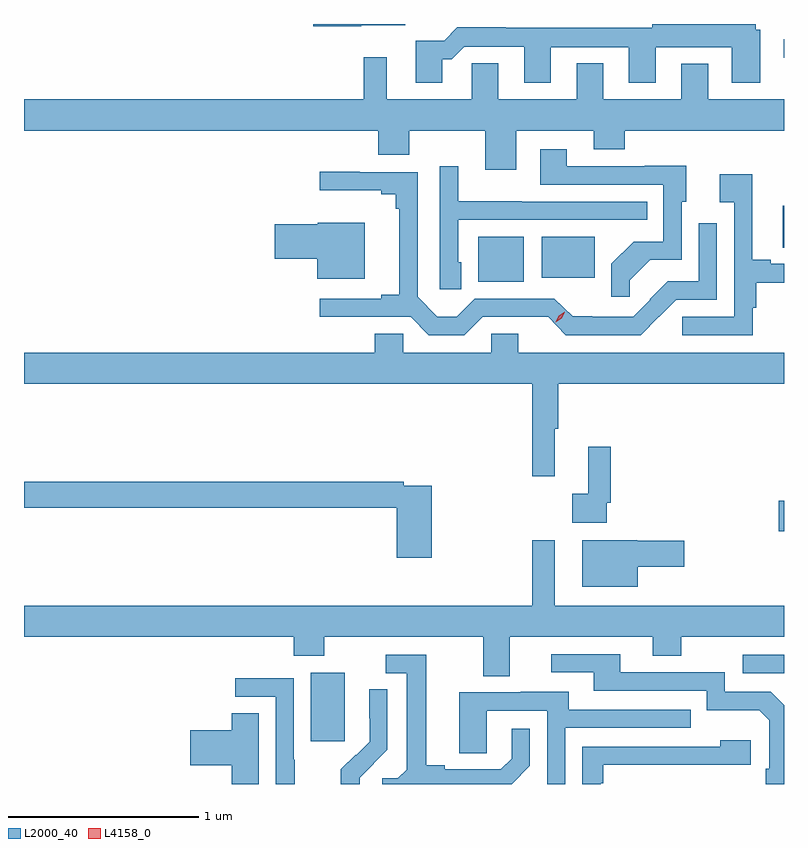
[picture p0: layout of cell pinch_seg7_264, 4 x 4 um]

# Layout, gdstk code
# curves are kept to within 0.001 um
import gdstk
lib = gdstk.Library(unit=1e-6, precision=1e-09)
def R(c, l, rs):  # rectangles x0, y0, x1, y1
    for r in rs: c.add(gdstk.rectangle(r[:2], r[2:], *l))
def P(c, l, *ps):  # polygons
    for p in ps: c.add(gdstk.Polygon(p, *l))
L2000_40 = (2000, 40)
L4158_0 = (4158, 0)

pinch_seg7_264 = lib.new_cell('pinch_seg7_264')
R(pinch_seg7_264, L2000_40, [(697.679,1058.673,697.858,1059.034), (699.951,1059.033,700.169,1059.129), (700.142,1059.779,700.169,1059.94), (698.561,1061.093,698.8,1061.329), (698.894,1061.114,699.172,1061.329), (700.163,1061.272,700.169,1061.493), (700.167,1062.271,700.169,1062.369)])
P(pinch_seg7_264, L2000_40, [(697.944,1062.443),(698.176,1062.443),(698.176,1062.449),(697.692,1062.449),(697.692,1062.436),(697.944,1062.436)],
  [(698.371,1062.263),(698.42,1062.263),(698.487,1062.33),(698.801,1062.33),(698.801,1062.141),(698.941,1062.141),(698.941,1062.327),(699.353,1062.327),(699.353,1062.141),(699.493,1062.141),(699.493,1062.326),(699.893,1062.326),(699.893,1062.141),(700.045,1062.141),(700.045,1062.42),(700.021,1062.42),(700.021,1062.449),(699.476,1062.449),(699.476,1062.428),(698.705,1062.428),(698.705,1062.431),(698.45,1062.431),(698.38,1062.361),(698.231,1062.361),(698.231,1062.141),(698.371,1062.141)],
  [(698.761,1061.888),(699.167,1061.888),(699.167,1061.789),(699.331,1061.789),(699.331,1061.888),(700.169,1061.888),(700.169,1062.052),(699.769,1062.052),(699.769,1062.241),(699.629,1062.241),(699.629,1062.052),(699.217,1062.052),(699.217,1062.242),(699.077,1062.242),(699.077,1062.052),(698.665,1062.052),(698.665,1062.242),(698.526,1062.242),(698.526,1062.052),(698.077,1062.052),(698.077,1062.274),(697.956,1062.274),(697.956,1062.052),(696.169,1062.052),(696.169,1061.888),(698.033,1061.888),(698.033,1061.76),(698.197,1061.76),(698.197,1061.888),(698.597,1061.888),(698.597,1061.682),(698.761,1061.682)],
  [(699.356,1061.1),(699.464,1061.208),(699.63,1061.208),(699.63,1061.514),(699.655,1061.514),(699.655,1061.702),(699.437,1061.702),(699.437,1061.7),(699.025,1061.7),(699.025,1061.791),(698.885,1061.791),(698.885,1061.604),(699.534,1061.604),(699.534,1061.304),(699.377,1061.304),(699.261,1061.188),(699.261,1061.013),(699.356,1061.013)],
  [(698.47,1061.196),(698.454,1061.196),(698.454,1061.418),(699.449,1061.418),(699.449,1061.514),(698.789,1061.514),(698.789,1061.515),(698.455,1061.515),(698.455,1061.701),(698.358,1061.701),(698.358,1061.053),(698.47,1061.053)],
  [(698.583,1060.908),(698.927,1060.907),(699.021,1060.812),(699.415,1060.812),(699.603,1060.998),(699.816,1060.998),(699.816,1061.401),(699.72,1061.401),(699.72,1061.094),(699.557,1061.094),(699.463,1061),(699.465,1060.998),(699.375,1060.908),(699.16,1060.908),(699.16,1060.91),(699.056,1060.91),(698.961,1061.004),(698.541,1061.004),(698.446,1060.909),(698.345,1060.909),(698.241,1061.013),(698.241,1061.67),(697.937,1061.67),(697.937,1061.672),(697.725,1061.672),(697.725,1061.573),(698.048,1061.573),(698.048,1061.554),(698.125,1061.554),(698.125,1061.477),(698.144,1061.477),(698.144,1061.024),(698.048,1061.024),(698.048,1061.004),(697.725,1061.004),(697.725,1060.907),(698.204,1060.908),(698.3,1060.812),(698.487,1060.812)],
  [(700.004,1060.955),(700.022,1060.955),(700.022,1061.086),(700.169,1061.086),(700.169,1061.187),(700.099,1061.187),(700.099,1061.207),(700.003,1061.207),(700.003,1061.659),(699.831,1061.659),(699.831,1061.51),(699.906,1061.51),(699.906,1060.908),(699.633,1060.908),(699.633,1060.812),(700.004,1060.812)],
  [(697.963,1061.404),(697.716,1061.404),(697.716,1061.396),(697.488,1061.396),(697.488,1061.213),(697.712,1061.213),(697.712,1061.108),(697.963,1061.108)],
  [(698.963,1060.32),(698.981,1060.32),(698.981,1060.556),(700.169,1060.556),(700.169,1060.72),(698.77,1060.72),(698.77,1060.818),(698.628,1060.818),(698.628,1060.72),(698.166,1060.72),(698.166,1060.818),(698.015,1060.818),(698.015,1060.72),(696.169,1060.72),(696.169,1060.556),(698.845,1060.556),(698.845,1060.068),(698.963,1060.068)],
  [(699.237,1059.928),(699.257,1059.928),(699.257,1060.225),(699.14,1060.225),(699.14,1059.977),(699.054,1059.977),(699.054,1059.824),(699.237,1059.824)],
  [(698.315,1060.02),(698.168,1060.02),(698.168,1060.04),(696.169,1060.04),(696.169,1059.904),(698.132,1059.904),(698.132,1059.639),(698.315,1059.639)],
  [(698.725,1059.224),(699.479,1059.224),(699.479,1059.125),(699.627,1059.125),(699.627,1059.224),(700.169,1059.224),(700.169,1059.388),(698.962,1059.388),(698.962,1059.733),(698.845,1059.733),(698.845,1059.388),(696.169,1059.388),(696.169,1059.224),(697.589,1059.224),(697.589,1059.125),(697.749,1059.125),(697.749,1059.224),(698.585,1059.224),(698.585,1059.016),(698.725,1059.016)],
  [(699.4,1059.593),(699.643,1059.593),(699.643,1059.728),(699.396,1059.728),(699.396,1059.733),(699.107,1059.733),(699.107,1059.488),(699.4,1059.488)],
  [(700.169,1058.863),(700.098,1058.934),(699.858,1058.934),(699.858,1059.036),(699.307,1059.036),(699.307,1059.132),(698.943,1059.132),(698.943,1059.036),(699.167,1059.036),(699.167,1058.94),(699.762,1058.94),(699.762,1058.837),(700.039,1058.837),(700.092,1058.784),(700.092,1058.53),(700.072,1058.53),(700.072,1058.449),(700.169,1058.449)],
  [(698.832,1058.546),(698.832,1058.74),(698.735,1058.74),(698.735,1058.583),(698.678,1058.526),(698.383,1058.526),(698.383,1058.549),(698.287,1058.549),(698.287,1059.129),(698.073,1059.129),(698.073,1059.033),(698.183,1059.033),(698.183,1058.525),(698.136,1058.478),(698.055,1058.478),(698.055,1058.449),(698.735,1058.449)],
  [(697.593,1058.576),(697.59,1058.576),(697.59,1059.006),(697.281,1059.006),(697.281,1058.907),(697.494,1058.907),(697.494,1058.449),(697.593,1058.449)],
  [(697.936,1058.482),(698.082,1058.63),(698.082,1058.948),(697.986,1058.948),(697.986,1058.794),(697.988,1058.794),(697.988,1058.672),(697.917,1058.601),(697.914,1058.604),(697.837,1058.527),(697.837,1058.449),(697.936,1058.449)],
  [(699.018,1058.745),(699.677,1058.745),(699.677,1058.841),(699.037,1058.841),(699.037,1058.935),(698.783,1058.935),(698.783,1058.931),(698.459,1058.931),(698.459,1058.611),(698.604,1058.611),(698.604,1058.835),(698.922,1058.835),(698.922,1058.449),(699.018,1058.449)],
  [(697.405,1058.822),(697.262,1058.822),(697.262,1058.732),(697.044,1058.732),(697.044,1058.549),(697.262,1058.549),(697.262,1058.449),(697.405,1058.449)],
  [(699.204,1058.453),(699.217,1058.453),(699.217,1058.55),(699.994,1058.55),(699.994,1058.68),(699.833,1058.68),(699.833,1058.646),(699.108,1058.646),(699.108,1058.449),(699.204,1058.449)])
P(pinch_seg7_264, L4158_0, [(698.967,1060.88),(698.967,1060.88),(698.983,1060.914),(699.014,1060.935),(699.014,1060.935),(699.014,1060.934),(698.998,1060.901),(698.967,1060.88)])

lib.write_gds('pinch_seg7_264.gds')
